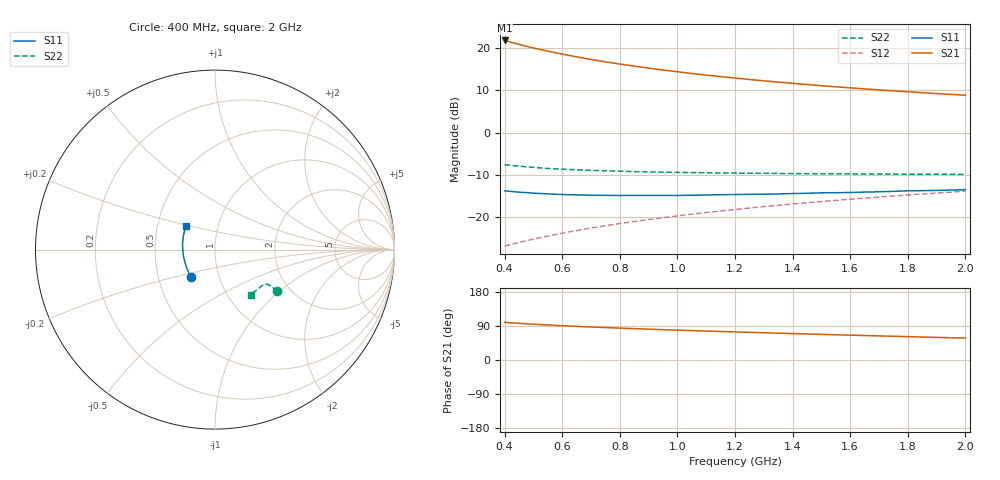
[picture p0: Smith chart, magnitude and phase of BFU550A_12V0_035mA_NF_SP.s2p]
! Filename:  P:\Prog\Test\Noise\ATS_data\Testdata_Net\06 Compressed Noise after Statistics\BFU550A_APG2013_35_C05_12p0V_035mA_NF_CM01_D.sf
! Date/Time: Tue 16/Apr/2013 15:11:30
! BFU550A_APG2013_35_C05_12p0V_1to35mA_NF_CM01_Bias8_R.sf
! Noise Parameter Data File
! BFU550A_APG2013_35_C05_12p0V_1to35mA_NF_CM01
! Date/time: Mon Apr 15 18:57:59 2013
! VAR V_out= 12.001000
! VAR I_out= 35.000000
! VAR V_in= 0.729800
! VAR I_in= 0.333450
! Device data file deembeded for feedlines and parallel
! Original file: \06 Compressed Noise after Statistics\BFU550A_APG2013_35_C05_12p0V_035mA_NF_CM01_R.sf
! Feed-files: PR017V01_150413_Feed1.s2p, PR017V01_150413_Feed2.s2p
! Parallel-file: PR017V01_150413_Par.s2p
# MHz S MA R 50
!  Freq-MHz  S11-mag  S11-arg  S21-mag  S21-arg  S12-mag  S12-arg  S22-mag  S22-arg
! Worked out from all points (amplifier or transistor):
!   37 points, 400 MHz to 2 GHz, reference 50 ohm
!   highest |S21| = 21.9 dB at 400 MHz (marker M1)
!   |S21| within 3 dB of that: start of sweep to 582.7 MHz
!   unconditionally stable (mu >= 1): 876.8 MHz to 1.774 GHz
!   at 500 MHz: K = 0.95, MSG = 22.7 dB, |S12| = -25.3 dB
!   at 1.1 GHz: K = 1.01, MAG = 15.8 dB, |S12| = -19.0 dB
!   at 2 GHz: K = 0.99, MSG = 11.4 dB, |S12| = -13.9 dB
!   lowest NFmin = 1.47 dB at 420 MHz
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400  0.2029 -130.3  12.42 99.3  0.04473 73.5  0.4153 -34.0
420  0.2002 -133.0  11.88 98.2  0.04664 73.6  0.4081 -33.9
440  0.1975 -135.8  11.39 97.2  0.04852 73.8  0.4018 -33.7
460  0.1948 -138.0  10.93 96.2  0.05044 74.0  0.3963 -33.6
480  0.1933 -140.3  10.51 95.3  0.05233 74.1  0.3907 -33.5
500  0.1907 -142.7  10.12 94.5  0.05421 74.2  0.3864 -33.4
550  0.1869 -148.2  9.27 92.3  0.05891 74.5  0.3746 -33.1
600  0.1836 -152.7  8.547 90.5  0.06377 74.6  0.3675 -33.1
650  0.1819 -157.2  7.927 88.7  0.06858 74.7  0.3612 -33.2
700  0.1801 -161.3  7.391 87.1  0.07338 74.8  0.3559 -33.3
750  0.1796 -164.9  6.923 85.6  0.07821 74.8  0.3513 -33.4
800  0.179 -168.4  6.515 84.1  0.08303 74.7  0.3477 -33.8
850  0.1794 -171.9  6.151 82.7  0.08786 74.6  0.3434 -34.1
950  0.1793 -177.9  5.537 80.1  0.09757 74.4  0.3385 -35.0
1050  0.1803 176.6  5.034 77.6  0.1074 74.0  0.3347 -36.0
1100  0.1814 174.0  4.818 76.4  0.1123 73.8  0.333 -36.6
1200  0.1836 169.2  4.439 74.1  0.1221 73.3  0.33 -37.9
1350  0.1865 162.8  3.976 70.8  0.1368 72.5  0.3272 -40.1
1500  0.1924 156.6  3.605 67.6  0.1515 71.5  0.3238 -42.5
1600  0.1944 153.1  3.397 65.6  0.1614 70.8  0.3232 -44.2
1750  0.2003 148.0  3.131 62.6  0.1762 69.7  0.3212 -46.8
2000  0.21 140.7  2.775 57.8  0.2008 67.8  0.3195 -51.6
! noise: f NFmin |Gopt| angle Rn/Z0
400  1.562  0.2595  -166.1  0.1185
460  1.497  0.2938  -167.9  0.105
600  1.586  0.2624  -157.7  0.1316
800  1.554  0.3114  -156.2  0.1117
1000  1.559  0.3095  -149.8  0.1249
1200  1.621  0.2984  -144.6  0.1438
1400  1.669  0.363  -139.5  0.1197
1600  1.632  0.386  -131.1  0.1467
1800  1.663  0.3616  -132.6  0.1547
2000  1.693  0.4275  -125.4  0.1453
